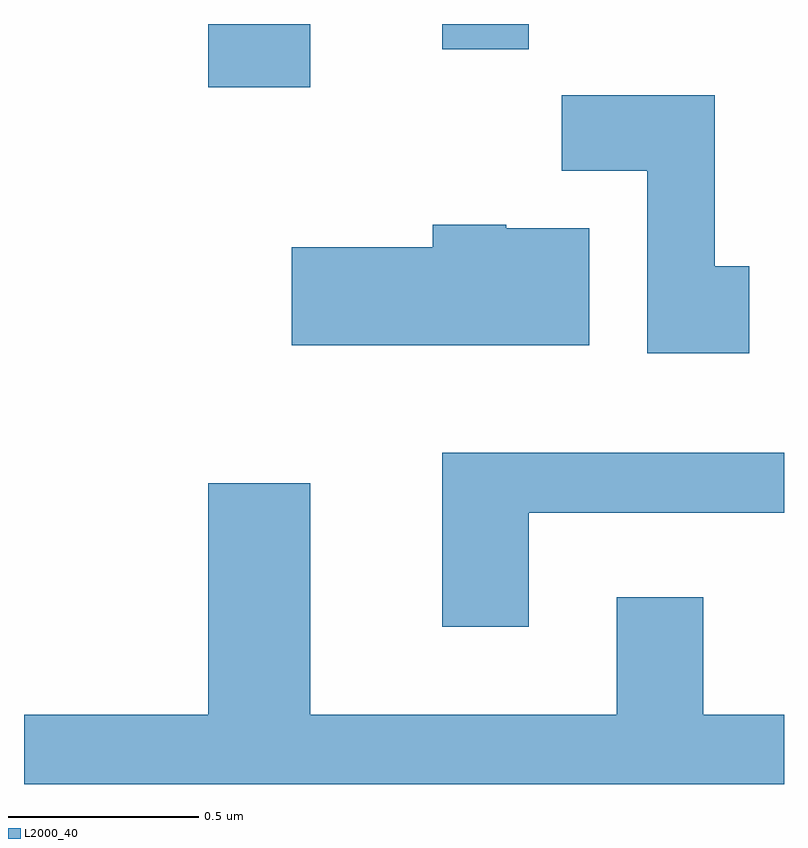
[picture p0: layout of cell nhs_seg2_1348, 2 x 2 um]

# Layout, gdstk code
import gdstk
lib = gdstk.Library(unit=1e-6, precision=1e-09)
def R(c, l, rs):  # rectangles x0, y0, x1, y1
    for r in rs: c.add(gdstk.rectangle(r[:2], r[2:], *l))
def P(c, l, *ps):  # polygons
    for p in ps: c.add(gdstk.Polygon(p, *l))
L2000_40 = (2000, 40)

nhs_seg2_1348 = lib.new_cell('nhs_seg2_1348')
R(nhs_seg2_1348, L2000_40, [(195.096,1094.636,195.364,1094.802), (195.711,1094.736,195.939,1094.802)])
P(nhs_seg2_1348, L2000_40, [(196.519,1094.164),(196.429,1094.164),(196.429,1094.614),(196.026,1094.614),(196.026,1094.416),(196.251,1094.416),(196.251,1093.936),(196.519,1093.936)],
  [(196.099,1094.264),(195.88,1094.264),(195.88,1094.274),(195.686,1094.274),(195.686,1094.214),(195.316,1094.214),(195.316,1093.956),(196.099,1093.956)],
  [(195.939,1093.516),(196.611,1093.516),(196.611,1093.674),(195.711,1093.674),(195.711,1093.216),(195.939,1093.216)],
  [(196.611,1092.984),(196.399,1092.984),(196.399,1093.294),(196.171,1093.294),(196.171,1092.984),(195.364,1092.984),(195.364,1093.594),(195.096,1093.594),(195.096,1092.984),(194.611,1092.984),(194.611,1092.802),(196.611,1092.802)])

lib.write_gds('nhs_seg2_1348.gds')
